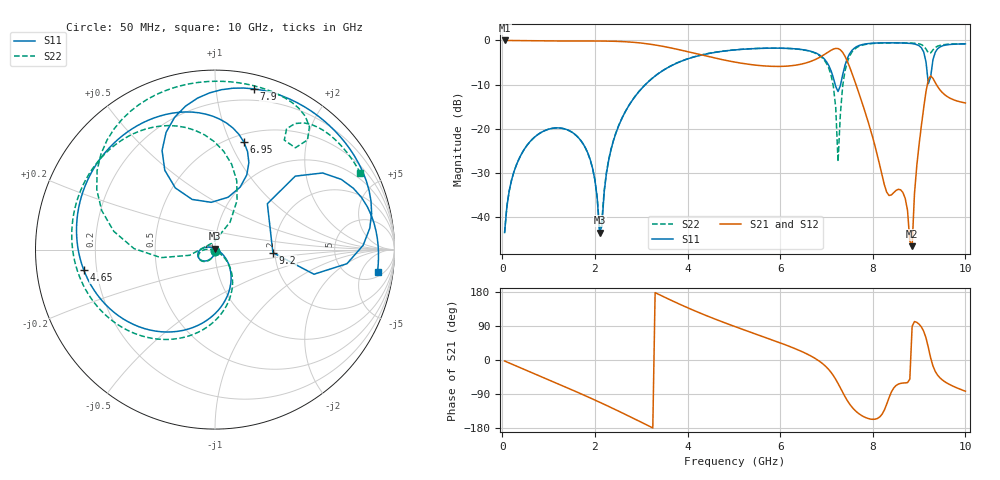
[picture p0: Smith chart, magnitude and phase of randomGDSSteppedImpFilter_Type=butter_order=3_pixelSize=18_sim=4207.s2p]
! freq	dB(S11)	phase(S11)	dB(S12)	phase(S12)
!  dB(S21)	phase(S21)	dB(S22)	phase(S22)
!S-par simulation data
#  GHz  S  DB  R 50
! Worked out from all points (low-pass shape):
!   200 points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, 50 MHz to 10 GHz, reference 50 ohm
!   highest |S21| = 0.00 dB at 50 MHz (marker M1); lowest = -46.6 dB at 8.85 GHz (marker M2)
!   |S21| within 3 dB of the highest: start of sweep to 4.186 GHz; 6.982 GHz to 7.367 GHz (384.6 MHz wide, 5.36 % of centre)
!   lowest |S11| = -43.5 dB at 2.1 GHz (marker M3), VSWR 1.01, Z = 49.7 + j0.604 ohm
!   |S11| at or under -10 dB: start of sweep to 3.091 GHz; 7.189 GHz to 7.305 GHz (116.5 MHz wide, 1.61 % of centre)
!   |S22| runs from -43.5 to -0.5 dB; largest |S21 - S12| = 0
!   S11 on the Smith chart (normalised r, x): 50 MHz: 1.00, -0.01; 4.65 GHz: 0.15, -0.07; 6.95 GHz: 0.58, +1.13; 7.9 GHz: 0.11, +1.26; 9.2 GHz: 1.95, -0.07; 10 GHz: 7, -10
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0.05  -43.52 -92.0  -0.00 -2.7  -0.00 -2.7  -43.52 -91.8
0.2  -31.65 -100.1  -0.02 -10.6  -0.02 -10.6  -31.64 -99.3
0.6  -22.92 -123.1  -0.06 -31.5  -0.06 -31.5  -22.92 -120.9
1.75  -23.51 172.2  -0.13 -92.0  -0.13 -92.0  -23.53 -177.2
2.1  -43.53 114.3  -0.13 -111.3  -0.13 -111.3  -42.59 -148.7
2.5  -19.69 -45.2  -0.22 -134.3  -0.22 -134.3  -19.63 -46.2
3.4  -7.29 -102.5  -1.21 171.9  -1.21 171.9  -7.27 -95.7
4.65  -2.61 -171.3  -4.13 105.3  -4.13 105.3  -2.59 -158.6
5.05  -2.12 169.7  -4.96 87.0  -4.96 87.0  -2.10 -175.7
6.7  -2.57 91.0  -4.59 8.2  -4.59 8.2  -2.65 110.4
6.95  -4.16 74.9  -3.22 -13.1  -3.22 -13.1  -4.43 90.3
7.15  -8.51 68.1  -1.96 -41.4  -1.96 -41.4  -10.46 65.8
7.25  -11.56 94.5  -1.84 -61.9  -1.84 -61.9  -27.46 98.6
7.45  -4.07 118.1  -4.70 -107.0  -4.70 -107.0  -4.84 169.8
7.9  -0.71 76.5  -18.44 -154.4  -18.44 -154.4  -0.80 117.7
8.35  -0.53 50.0  -35.12 -99.8  -35.12 -99.8  -0.56 91.8
8.65  -0.58 33.6  -34.44 -60.8  -34.44 -60.8  -0.55 77.4
8.85  -0.73 21.0  -46.62 88.8  -46.62 88.8  -0.60 67.6
8.95  -0.96 13.0  -28.46 99.4  -28.46 99.4  -0.68 62.2
9.2  -9.82 -3.0  -8.85 32.9  -8.85 32.9  -2.82 51.7
9.35  -2.66 35.5  -9.56 -30.2  -9.56 -30.2  -1.60 57.6
10  -0.78 -7.7  -14.18 -82.4  -14.18 -82.4  -0.77 28.0
